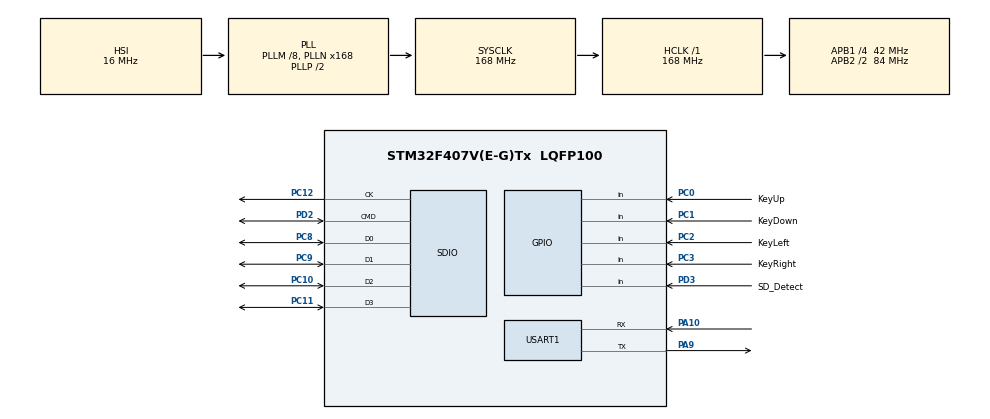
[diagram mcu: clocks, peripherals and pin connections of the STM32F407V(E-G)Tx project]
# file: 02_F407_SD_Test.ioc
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Mcu.Family=STM32F4
Mcu.Name=STM32F407V(E-G)Tx
Mcu.Package=LQFP100
NVIC.PriorityGroup=NVIC_PRIORITYGROUP_4
NVIC.SDIO_IRQn=true\:0\:0\:false\:false\:true\:true\:true\:true
PA10.Mode=Asynchronous
PA10.Signal=USART1_RX
PA13.Mode=Serial_Wire
PA13.Signal=SYS_JTMS-SWDIO
PA14.Mode=Serial_Wire
PA14.Signal=SYS_JTCK-SWCLK
PA9.Mode=Asynchronous
PA9.Signal=USART1_TX
PC0.GPIO_Label=KeyUp
PC0.GPIO_PuPd=GPIO_PULLUP
PC0.Signal=GPIO_Input
PC1.GPIO_Label=KeyDown
PC1.GPIO_PuPd=GPIO_PULLUP
PC1.Signal=GPIO_Input
PC10.Mode=SD_4_bits_Wide_bus
PC10.Signal=SDIO_D2
PC11.Mode=SD_4_bits_Wide_bus
PC11.Signal=SDIO_D3
PC12.Mode=SD_4_bits_Wide_bus
PC12.Signal=SDIO_CK
PC2.GPIO_Label=KeyLeft
PC2.GPIO_PuPd=GPIO_PULLUP
PC2.Signal=GPIO_Input
PC3.GPIO_Label=KeyRight
PC3.GPIO_PuPd=GPIO_PULLUP
PC3.Signal=GPIO_Input
PC8.Mode=SD_4_bits_Wide_bus
PC8.Signal=SDIO_D0
PC9.Mode=SD_4_bits_Wide_bus
PC9.Signal=SDIO_D1
PD2.Mode=SD_4_bits_Wide_bus
PD2.Signal=SDIO_CMD
PD3.GPIO_Label=SD_Detect
PD3.GPIO_PuPd=GPIO_PULLUP
PD3.Signal=GPIO_Input
PH0-OSC_IN.Mode=HSE-External-Oscillator
PH0-OSC_IN.Signal=RCC_OSC_IN
PH1-OSC_OUT.Mode=HSE-External-Oscillator
PH1-OSC_OUT.Signal=RCC_OSC_OUT
ProjectManager.HeapSize=0x200
ProjectManager.StackSize=0x400
ProjectManager.TargetToolchain=MDK-ARM V5.32
RCC.48MHZClocksFreq_Value=48000000
RCC.AHBFreq_Value=168000000
RCC.APB1CLKDivider=RCC_HCLK_DIV4
RCC.APB1Freq_Value=42000000
RCC.APB1TimFreq_Value=84000000
RCC.APB2CLKDivider=RCC_HCLK_DIV2
RCC.APB2Freq_Value=84000000
RCC.APB2TimFreq_Value=168000000
RCC.CortexFreq_Value=168000000
RCC.HCLKFreq_Value=168000000
RCC.HSE_VALUE=25000000
RCC.HSI_VALUE=16000000
RCC.LSE_VALUE=32768
RCC.PLLM=8
RCC.PLLN=168
RCC.PLLQ=7
RCC.SYSCLKFreq_VALUE=168000000
RCC.SYSCLKSource=RCC_SYSCLKSOURCE_PLLCLK
RCC.VCOOutputFreq_Value=336000000
SDIO.ClockDiv=4
USART1.VirtualMode=VM_ASYNC
board=custom

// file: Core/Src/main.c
/* USER CODE BEGIN Header */
/**
  ******************************************************************************
  * @file           : main.c
  * @brief          : Main program body
  ******************************************************************************
  * @attention
  *
  * Copyright (c) 2025 STMicroelectronics.
  * All rights reserved.
  *
  * This software is licensed under terms that can be found in the LICENSE file
  * in the root directory of this software component.
  * If no LICENSE file comes with this software, it is provided AS-IS.
  *
  ******************************************************************************
  */
/* USER CODE END Header */
#include "main.h"

/* USER CODE BEGIN Includes */
#include "sd_card.h"
#include "keyled.h"
/* USER CODE END Includes */

/* USER CODE BEGIN PD */

	 /* __GNUC__*/
/* USER CODE END PD */

SD_HandleTypeDef hsd;

UART_HandleTypeDef huart1;

void SystemClock_Config(void);
static void MX_GPIO_Init(void);
static void MX_SDIO_SD_Init(void);
static void MX_USART1_UART_Init(void);

/* USER CODE BEGIN 0 */

 /******************************************************************
     *@brief  Retargets the C library printf  function to the USART.
     *@param  None
     *@retval None
 ******************************************************************/
 PUTCHAR_PROTOTYPE
 {
     HAL_UART_Transmit(&huart1, (uint8_t *)&ch,1,0xFFFF);
     return ch;
 }

/* USER CODE END 0 */

int main(void)
{

  /* MCU Configuration--------------------------------------------------------*/

  /* Reset of all peripherals, Initializes the Flash interface and the Systick. */
  HAL_Init();

  /* Configure the system clock */
  SystemClock_Config();

  /* Initialize all configured peripherals */
  MX_GPIO_Init();
  MX_SDIO_SD_Init();
  MX_USART1_UART_Init();
  /* USER CODE BEGIN 2 */
	while(TF_Card_Detect() == 0)
	{
		printf("SD Not Exist\r\n");
	}

	printf("SD ready Exist\r\n");

    printf("初始化完毕\r\n");

	printf("Demo02: F407_SD_Test\r\n");
    printf("Read/write SD card directly\r\n");
    printf("[1]KeyUp   = SD card info\r\n");
    printf("[2]KeyDown = Erase 0-10 blocks\r\n");
    printf("[3]KeyLeft = Write block\r\n");
    printf("[4]KeyRight = Read block\r\n");

//    SDCard_ShowInfo();
//    SDCard_EraseBlocks();
//    SDCard_TestWrite();
//    SDCard_TestRead();

  /* USER CODE END 2 */

  /* Infinite loop */
  /* USER CODE BEGIN WHILE */
  while (1)
  {
	  KEYS waitKey = ScanPressedKey(KEY_WAIT_ALWAYS);

        if (waitKey == KEY_UP)
		{
			printf("\r\n");
			SDCard_ShowInfo();
			printf("\r\n");

        } else if (waitKey == KEY_DOWN)
		{
			printf("\r\n");
			SDCard_EraseBlocks();
            printf("\r\n");

        } else if (waitKey == KEY_LEFT)
		{
			printf("\r\n");
			SDCard_TestWrite();
			printf("\r\n");

        } else if (waitKey == KEY_RIGHT)
		{
			printf("\r\n");
        	SDCard_TestRead();
			printf("\r\n");
        }

        HAL_Delay(500);

    /* USER CODE END WHILE */

  }
}

void SystemClock_Config(void)
{
  RCC_OscInitTypeDef RCC_OscInitStruct = {0};
  RCC_ClkInitTypeDef RCC_ClkInitStruct = {0};

  /** Configure the main internal regulator output voltage
  */
  __HAL_RCC_PWR_CLK_ENABLE();
  __HAL_PWR_VOLTAGESCALING_CONFIG(PWR_REGULATOR_VOLTAGE_SCALE1);

  /** Initializes the RCC Oscillators according to the specified parameters
  * in the RCC_OscInitTypeDef structure.
  */
  RCC_OscInitStruct.OscillatorType = RCC_OSCILLATORTYPE_HSI;
  RCC_OscInitStruct.HSIState = RCC_HSI_ON;
  RCC_OscInitStruct.HSICalibrationValue = RCC_HSICALIBRATION_DEFAULT;
  RCC_OscInitStruct.PLL.PLLState = RCC_PLL_ON;
  RCC_OscInitStruct.PLL.PLLSource = RCC_PLLSOURCE_HSI;
  RCC_OscInitStruct.PLL.PLLM = 8;
  RCC_OscInitStruct.PLL.PLLN = 168;
  RCC_OscInitStruct.PLL.PLLP = RCC_PLLP_DIV2;
  RCC_OscInitStruct.PLL.PLLQ = 7;
  if (HAL_RCC_OscConfig(&RCC_OscInitStruct) != HAL_OK)
  {
    Error_Handler();
  }

  /** Initializes the CPU, AHB and APB buses clocks
  */
  RCC_ClkInitStruct.ClockType = RCC_CLOCKTYPE_HCLK|RCC_CLOCKTYPE_SYSCLK
                              |RCC_CLOCKTYPE_PCLK1|RCC_CLOCKTYPE_PCLK2;
  RCC_ClkInitStruct.SYSCLKSource = RCC_SYSCLKSOURCE_PLLCLK;
  RCC_ClkInitStruct.AHBCLKDivider = RCC_SYSCLK_DIV1;
  RCC_ClkInitStruct.APB1CLKDivider = RCC_HCLK_DIV4;
  RCC_ClkInitStruct.APB2CLKDivider = RCC_HCLK_DIV2;

  if (HAL_RCC_ClockConfig(&RCC_ClkInitStruct, FLASH_LATENCY_5) != HAL_OK)
  {
    Error_Handler();
  }
}

static void MX_SDIO_SD_Init(void)
{

  hsd.Instance = SDIO;
  hsd.Init.ClockEdge = SDIO_CLOCK_EDGE_RISING;
  hsd.Init.ClockBypass = SDIO_CLOCK_BYPASS_DISABLE;
  hsd.Init.ClockPowerSave = SDIO_CLOCK_POWER_SAVE_DISABLE;
  hsd.Init.BusWide = SDIO_BUS_WIDE_1B;
  hsd.Init.HardwareFlowControl = SDIO_HARDWARE_FLOW_CONTROL_DISABLE;
  hsd.Init.ClockDiv = 4;
  if (HAL_SD_Init(&hsd) != HAL_OK)
  {
    Error_Handler();
  }
  if (HAL_SD_ConfigWideBusOperation(&hsd, SDIO_BUS_WIDE_4B) != HAL_OK)
  {
    Error_Handler();
  }

}

static void MX_USART1_UART_Init(void)
{

  huart1.Instance = USART1;
  huart1.Init.BaudRate = 115200;
  huart1.Init.WordLength = UART_WORDLENGTH_8B;
  huart1.Init.StopBits = UART_STOPBITS_1;
  huart1.Init.Parity = UART_PARITY_NONE;
  huart1.Init.Mode = UART_MODE_TX_RX;
  huart1.Init.HwFlowCtl = UART_HWCONTROL_NONE;
  huart1.Init.OverSampling = UART_OVERSAMPLING_16;
  if (HAL_UART_Init(&huart1) != HAL_OK)
  {
    Error_Handler();
  }

}

static void MX_GPIO_Init(void)
{
  GPIO_InitTypeDef GPIO_InitStruct = {0};

  /* GPIO Ports Clock Enable */
  __HAL_RCC_GPIOH_CLK_ENABLE();
  __HAL_RCC_GPIOC_CLK_ENABLE();
  __HAL_RCC_GPIOA_CLK_ENABLE();
  __HAL_RCC_GPIOD_CLK_ENABLE();

  /*Configure GPIO pins : KeyUp_Pin KeyDown_Pin KeyLeft_Pin KeyRight_Pin */
  GPIO_InitStruct.Pin = KeyUp_Pin|KeyDown_Pin|KeyLeft_Pin|KeyRight_Pin;
  GPIO_InitStruct.Mode = GPIO_MODE_INPUT;
  GPIO_InitStruct.Pull = GPIO_PULLUP;
  HAL_GPIO_Init(GPIOC, &GPIO_InitStruct);

  /*Configure GPIO pin : SD_Detect_Pin */
  GPIO_InitStruct.Pin = SD_Detect_Pin;
  GPIO_InitStruct.Mode = GPIO_MODE_INPUT;
  GPIO_InitStruct.Pull = GPIO_PULLUP;
  HAL_GPIO_Init(SD_Detect_GPIO_Port, &GPIO_InitStruct);

}

void Error_Handler(void)
{
  __disable_irq();
  while (1)
  {
  }
}
